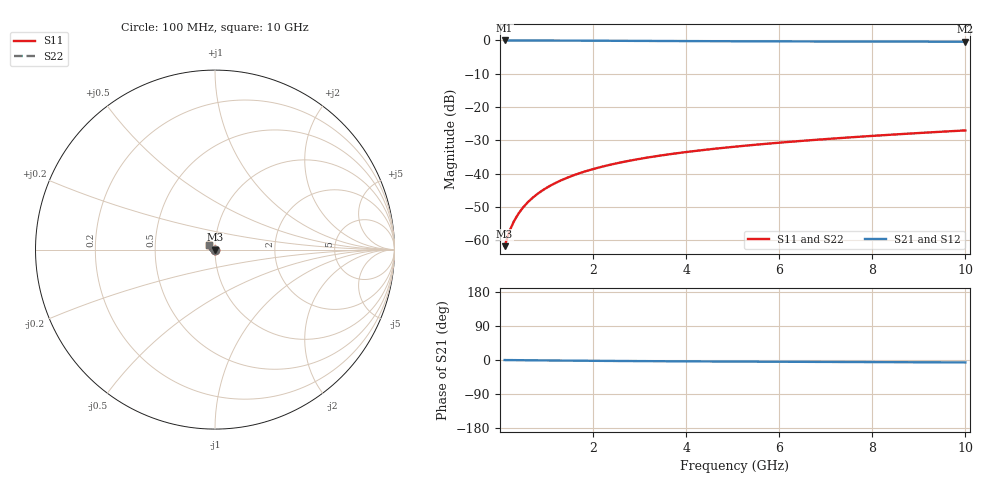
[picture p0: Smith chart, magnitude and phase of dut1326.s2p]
! Touchstone file exported from HFSS 2024.1.0
!  File:  C:/UserFiles/LocalFiles/RDL_TSV_Batchsim/temp_TSV1_1326_1780374799.aedt
!  Generated:  12:42:32 PM Jun  2, 2026
!  Design:  TSV1
!  Project:  temp_TSV1_1326_1780374799
!  Setup:  Setup1
!  Solution:  Sweep
! Variables:
!  dtsv = 5.41um
!  hbump = 3um
!  htsv = 97.61um
!  lrdl = 252.1521522um
!  p = 40
!  p1 = 48.33um
!  t = 500um
!  trdl = 3um
!  wrdl = 24.89489489um
# GHz S MA R 50.000000
! Terminal data exported
! Port[1] = TSV22_T1
! Port[2] = TSV22_T2
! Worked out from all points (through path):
!   100 points, 100 MHz to 10 GHz, reference 50 ohm
!   highest |S21| = 0.00 dB at 100 MHz (marker M1); lowest = -0.4 dB at 10 GHz (marker M2)
!   lowest |S11| = -61.7 dB at 100 MHz (marker M3), VSWR 1.00, Z = 50.1 - j0.063 ohm
!   |S11| at or under -10 dB: start of sweep to end of sweep
!   |S22| runs from -61.7 to -27.0 dB; largest |S21 - S12| = 4e-15
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0.1  0.0008177 -50.3  0.9994 -0.1  0.9994 -0.1  0.0008177 -50.3
! Gamma 0 0 0 0
! Port Impedance 50 0 50 0
0.2  0.00135 -70.4  0.9993 -0.2  0.9993 -0.2  0.00135 -70.4
0.3  0.001935 -80.1  0.9992 -0.4  0.9992 -0.4  0.001935 -80.1
0.4  0.002534 -86.4  0.999 -0.5  0.999 -0.5  0.002534 -86.4
0.5  0.003137 -91.1  0.9988 -0.6  0.9988 -0.6  0.003137 -91.1
0.6  0.003741 -95.0  0.9985 -0.7  0.9985 -0.7  0.003741 -95.0
0.7  0.004344 -98.4  0.9982 -0.8  0.9982 -0.8  0.004344 -98.4
0.8  0.004944 -101.5  0.9979 -0.9  0.9979 -0.9  0.004944 -101.5
0.9  0.00554 -104.4  0.9975 -1.0  0.9975 -1.0  0.00554 -104.4
1.1  0.006719 -109.7  0.9966 -1.2  0.9966 -1.2  0.006719 -109.7
1.4  0.008447 -117.1  0.995 -1.6  0.995 -1.6  0.008447 -117.1
1.6  0.009568 -121.6  0.9938 -1.8  0.9938 -1.8  0.009568 -121.6
1.8  0.01066 -126.0  0.9925 -1.9  0.9925 -1.9  0.01066 -126.0
2.1  0.01225 -132.2  0.9905 -2.2  0.9905 -2.2  0.01225 -132.2
2.5  0.01429 -140.0  0.9877 -2.5  0.9877 -2.5  0.01429 -140.0
2.9  0.01622 -147.2  0.9849 -2.8  0.9849 -2.8  0.01622 -147.2
3.4  0.01851 -155.5  0.9815 -3.2  0.9815 -3.2  0.01851 -155.5
4.2  0.02197 -167.2  0.9766 -3.7  0.9766 -3.7  0.02197 -167.2
5.1  0.02565 -178.5  0.9718 -4.1  0.9718 -4.1  0.02565 -178.5
6.7  0.03192 165.5  0.9654 -4.9  0.9654 -4.9  0.03192 165.5
8.4  0.03847 152.6  0.9606 -5.7  0.9606 -5.7  0.03848 152.6
10  0.04465 143.1  0.9574 -6.4  0.9574 -6.4  0.04465 143.1
